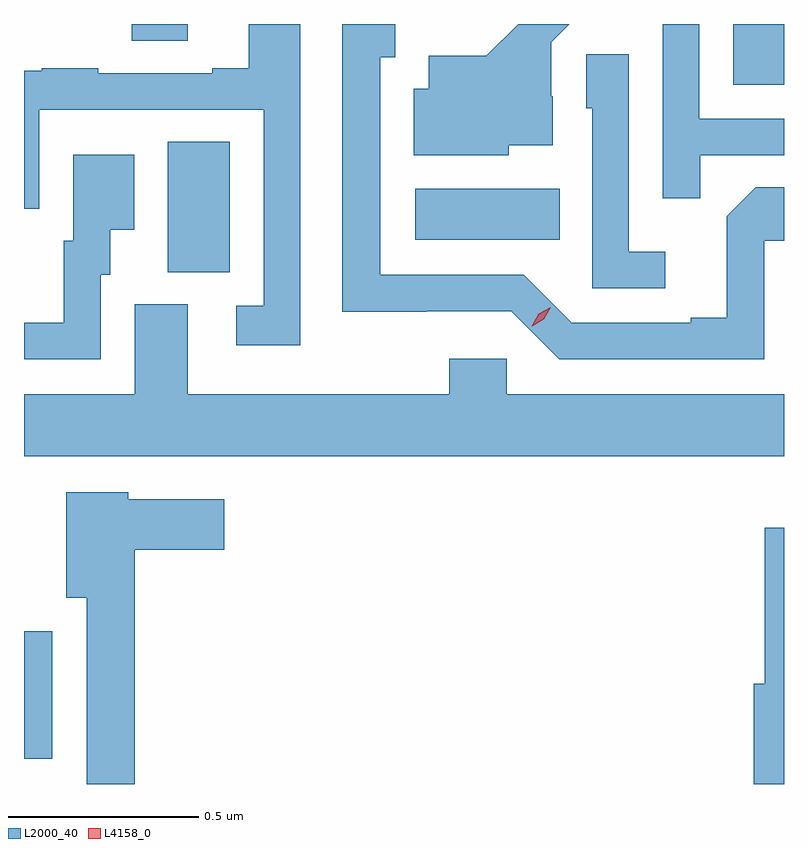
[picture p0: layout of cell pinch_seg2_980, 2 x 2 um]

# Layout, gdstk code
import gdstk
lib = gdstk.Library(unit=1e-6, precision=1e-09)
def R(c, l, rs):  # rectangles x0, y0, x1, y1
    for r in rs: c.add(gdstk.rectangle(r[:2], r[2:], *l))
def P(c, l, *ps):  # polygons
    for p in ps: c.add(gdstk.Polygon(p, *l))
L2000_40 = (2000, 40)
L4158_0 = (4158, 0)

pinch_seg2_980 = lib.new_cell('pinch_seg2_980')
R(pinch_seg2_980, L2000_40, [(326.6,645.509,326.674,645.844), (326.978,646.789,327.142,647.132), (327.63,646.874,328.01,647.008), (328.466,647.282,328.6,647.442), (326.884,647.398,327.031,647.442)])
P(pinch_seg2_980, L2000_40, [(328.548,646.872),(328.6,646.872),(328.6,647.012),(328.525,647.012),(328.449,646.936),(328.449,646.669),(328.355,646.669),(328.355,646.656),(328.041,646.656),(327.915,646.782),(327.538,646.782),(327.538,647.355),(327.577,647.355),(327.577,647.442),(327.437,647.442),(327.437,646.685),(327.66,646.685),(327.66,646.686),(327.882,646.686),(328.008,646.56),(328.548,646.56)],
  [(327.327,647.442),(327.191,647.442),(327.191,647.326),(327.095,647.326),(327.095,647.313),(326.795,647.313),(326.795,647.326),(326.647,647.326),(326.647,647.319),(326.6,647.319),(326.6,646.956),(326.64,646.956),(326.64,647.217),(327.231,647.217),(327.231,646.701),(327.159,646.701),(327.159,646.596),(327.327,646.596)],
  [(328.379,647.097),(328.6,647.097),(328.6,647.193),(328.377,647.193),(328.377,647.442),(328.281,647.442),(328.281,646.984),(328.379,646.984)],
  [(327.876,647.123),(327.991,647.123),(327.991,647.252),(327.987,647.252),(327.987,647.394),(328.035,647.442),(327.901,647.442),(327.817,647.359),(327.665,647.359),(327.665,647.272),(327.626,647.272),(327.626,647.096),(327.876,647.096)],
  [(328.288,646.843),(328.191,646.843),(328.191,647.363),(328.08,647.363),(328.08,647.22),(328.095,647.22),(328.095,646.746),(328.288,646.746)],
  [(326.802,646.782),(326.827,646.782),(326.827,646.901),(326.89,646.901),(326.89,647.098),(326.729,647.098),(326.729,646.872),(326.705,646.872),(326.705,646.656),(326.6,646.656),(326.6,646.56),(326.802,646.56)],
  [(328.6,646.468),(327.87,646.468),(327.87,646.561),(327.719,646.561),(327.719,646.468),(327.031,646.468),(327.031,646.704),(326.891,646.704),(326.891,646.468),(326.6,646.468),(326.6,646.304),(328.6,646.304)],
  [(326.891,646.058),(327.127,646.058),(327.127,646.192),(326.874,646.192),(326.874,646.21),(326.711,646.21),(326.711,645.932),(326.765,645.932),(326.765,645.442),(326.891,645.442)],
  [(328.6,646.117),(328.549,646.117),(328.549,645.706),(328.52,645.706),(328.52,645.442),(328.6,645.442)])
P(pinch_seg2_980, L4158_0, [(327.936,646.646),(327.936,646.647),(327.954,646.679),(327.986,646.697),(327.986,646.697),(327.986,646.697),(327.968,646.665),(327.937,646.646)])

lib.write_gds('pinch_seg2_980.gds')
